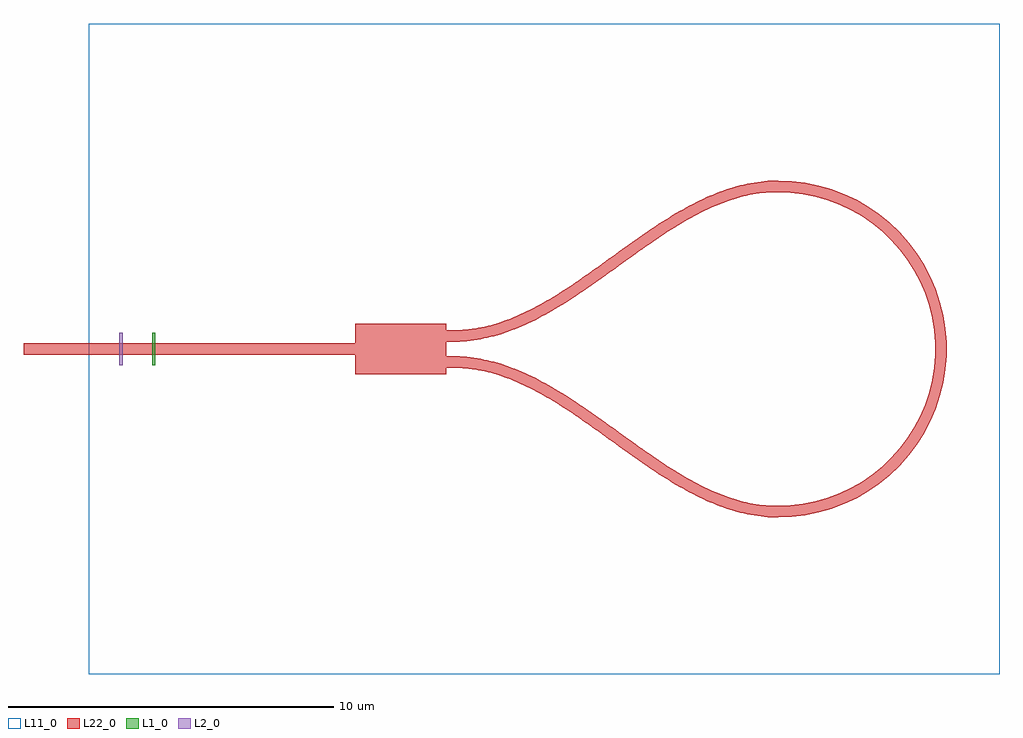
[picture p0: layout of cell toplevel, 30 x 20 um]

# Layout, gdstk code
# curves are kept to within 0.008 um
import gdstk
lib = gdstk.Library(unit=1e-6, precision=1e-09)
def R(c, l, rs):  # rectangles x0, y0, x1, y1
    for r in rs: c.add(gdstk.rectangle(r[:2], r[2:], *l))
def P(c, l, *ps):  # polygons
    for p in ps: c.add(gdstk.Polygon(p, *l))
L1_0 = (1, 0)
L2_0 = (2, 0)
L11_0 = (11, 0)
L22_0 = (22, 0)

toplevel = lib.new_cell('toplevel')
R(toplevel, L1_0, [(-6.05,-0.5,-5.95,0.5)])
R(toplevel, L2_0, [(-7.05,-0.5,-6.95,0.5)])
R(toplevel, L11_0, [(-8,-10,20,10)])
R(toplevel, L22_0, [(0.2,-0.775,3,0.775), (3,-0.575,3.2,-0.225), (-10,-0.175,0,0.175), (0,-0.175,0.2,0.175), (3,0.225,3.2,0.575)])
P(toplevel, L22_0, [(13.2,-4.825),(13.588,-4.809),(13.974,-4.763),(14.355,-4.685),(14.728,-4.577),(15.091,-4.439),(15.442,-4.272),(15.779,-4.078),(16.099,-3.857),(16.4,-3.612),(16.68,-3.342),(16.937,-3.052),(17.171,-2.741),(17.379,-2.412),(17.559,-2.068),(17.711,-1.711),(17.834,-1.342),(17.927,-0.965),(17.99,-0.582),(18.021,-0.194),(18.021,0.194),(17.99,0.582),(17.927,0.965),(17.834,1.342),(17.711,1.711),(17.559,2.068),(17.379,2.412),(17.171,2.741),(16.937,3.052),(16.68,3.342),(16.4,3.612),(16.099,3.857),(15.779,4.078),(15.442,4.272),(15.091,4.439),(14.728,4.577),(14.355,4.685),(13.974,4.763),(13.588,4.809),(13.2,4.825),(13.2,5.175),(13.616,5.158),(14.03,5.108),(14.438,5.025),(14.839,4.909),(15.228,4.761),(15.605,4.582),(15.966,4.374),(16.309,4.137),(16.632,3.874),(16.932,3.585),(17.209,3.273),(17.459,2.94),(17.682,2.587),(17.875,2.218),(18.039,1.835),(18.171,1.44),(18.27,1.035),(18.337,0.624),(18.371,0.208),(18.371,-0.208),(18.337,-0.624),(18.27,-1.035),(18.171,-1.44),(18.039,-1.835),(17.875,-2.218),(17.682,-2.587),(17.459,-2.94),(17.209,-3.273),(16.932,-3.585),(16.632,-3.874),(16.309,-4.137),(15.966,-4.374),(15.605,-4.582),(15.228,-4.761),(14.839,-4.909),(14.438,-5.025),(14.03,-5.108),(13.616,-5.158),(13.2,-5.175)],
  [(3.2,0.575),(3.494,0.585),(3.788,0.616),(4.083,0.666),(4.379,0.737),(4.675,0.827),(4.973,0.935),(5.271,1.061),(5.67,1.255),(6.273,1.595),(6.878,1.982),(7.487,2.403),(8.916,3.427),(9.739,3.977),(10.464,4.401),(10.985,4.658),(11.299,4.79),(11.614,4.905),(12.141,5.053),(12.67,5.144),(13.2,5.175),(13.2,4.825),(12.906,4.815),(12.513,4.77),(12.12,4.689),(11.824,4.605),(11.427,4.465),(11.129,4.339),(10.83,4.196),(10.429,3.982),(9.926,3.681),(9.421,3.35),(7.484,1.973),(6.867,1.555),(6.143,1.114),(5.728,0.891),(5.415,0.742),(4.996,0.569),(4.47,0.399),(4.048,0.303),(3.518,0.236),(3.2,0.225)],
  [(3.2,-0.225),(3.518,-0.236),(3.836,-0.269),(4.154,-0.324),(4.47,-0.399),(4.786,-0.495),(5.101,-0.61),(5.728,-0.891),(6.247,-1.173),(6.867,-1.555),(7.484,-1.973),(9.421,-3.35),(9.926,-3.681),(10.429,-3.982),(10.73,-4.145),(11.129,-4.339),(11.427,-4.465),(11.824,-4.605),(12.12,-4.689),(12.513,-4.77),(12.906,-4.815),(13.2,-4.825),(13.2,-5.175),(12.882,-5.164),(12.564,-5.131),(12.246,-5.076),(11.93,-5.001),(11.614,-4.905),(11.299,-4.79),(10.672,-4.509),(10.153,-4.227),(9.533,-3.845),(8.916,-3.427),(6.979,-2.05),(6.474,-1.719),(5.971,-1.418),(5.67,-1.255),(5.271,-1.061),(4.973,-0.935),(4.576,-0.795),(4.28,-0.711),(3.887,-0.63),(3.494,-0.585),(3.2,-0.575)])

lib.write_gds('toplevel.gds')
